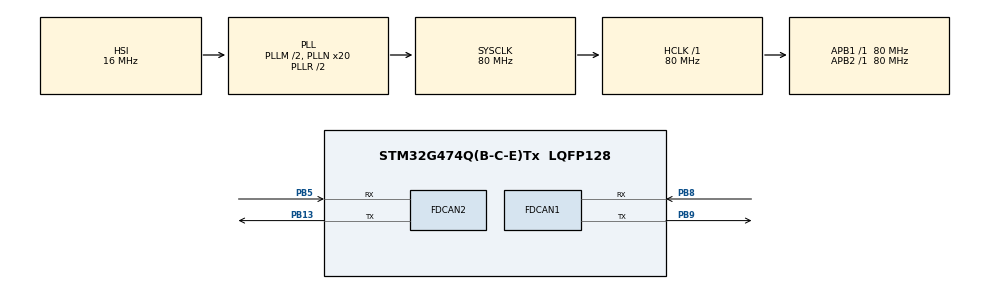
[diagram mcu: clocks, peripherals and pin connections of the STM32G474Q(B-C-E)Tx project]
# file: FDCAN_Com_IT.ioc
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FDCAN1.AutoRetransmission=ENABLE
FDCAN1.ClockDivider=FDCAN_CLOCK_DIV1
FDCAN1.DataPrescaler=1
FDCAN1.DataSyncJumpWidth=4
FDCAN1.DataTimeSeg1=5
FDCAN1.DataTimeSeg2=4
FDCAN1.ExtFiltersNbr=0
FDCAN1.FrameFormat=FDCAN_FRAME_FD_BRS
FDCAN1.Mode=FDCAN_MODE_NORMAL
FDCAN1.NominalPrescaler=1
FDCAN1.NominalSyncJumpWidth=16
FDCAN1.NominalTimeSeg1=63
FDCAN1.NominalTimeSeg2=16
FDCAN1.ProtocolException=DISABLE
FDCAN1.StdFiltersNbr=1
FDCAN1.TransmitPause=ENABLE
FDCAN1.TxFifoQueueMode=FDCAN_TX_FIFO_OPERATION
FDCAN2.AutoRetransmission=ENABLE
FDCAN2.ClockDivider=FDCAN_CLOCK_DIV1
FDCAN2.DataPrescaler=1
FDCAN2.DataSyncJumpWidth=4
FDCAN2.DataTimeSeg1=5
FDCAN2.DataTimeSeg2=4
FDCAN2.ExtFiltersNbr=0
FDCAN2.FrameFormat=FDCAN_FRAME_FD_BRS
FDCAN2.Mode=FDCAN_MODE_NORMAL
FDCAN2.NominalPrescaler=1
FDCAN2.NominalSyncJumpWidth=16
FDCAN2.NominalTimeSeg1=63
FDCAN2.NominalTimeSeg2=16
FDCAN2.ProtocolException=DISABLE
FDCAN2.StdFiltersNbr=1
FDCAN2.TransmitPause=ENABLE
FDCAN2.TxFifoQueueMode=FDCAN_TX_FIFO_OPERATION
Mcu.Family=STM32G4
Mcu.Name=STM32G474Q(B-C-E)Tx
Mcu.Package=LQFP128
NVIC.FDCAN1_IT0_IRQn=true\:0\:0\:false\:false\:true\:true\:true
NVIC.FDCAN2_IT0_IRQn=true\:0\:0\:false\:false\:true\:true\:true
NVIC.PriorityGroup=NVIC_PRIORITYGROUP_4
PB13.GPIO_Speed=GPIO_SPEED_FREQ_VERY_HIGH
PB13.Mode=FDCANFD
PB13.Signal=FDCAN2_TX
PB5.GPIO_Speed=GPIO_SPEED_FREQ_VERY_HIGH
PB5.Mode=FDCANFD
PB5.Signal=FDCAN2_RX
PB8-BOOT0.GPIO_Speed=GPIO_SPEED_FREQ_VERY_HIGH
PB8-BOOT0.Mode=FDCANFD
PB8-BOOT0.Signal=FDCAN1_RX
PB9.GPIO_Speed=GPIO_SPEED_FREQ_VERY_HIGH
PB9.Mode=FDCANFD
PB9.Signal=FDCAN1_TX
ProjectManager.HeapSize=0x200
ProjectManager.StackSize=0xA00
ProjectManager.TargetToolchain=EWARM V8
RCC.ADC12Freq_Value=80000000
RCC.ADC345Freq_Value=80000000
RCC.AHBFreq_Value=80000000
RCC.APB1Freq_Value=80000000
RCC.APB1TimFreq_Value=80000000
RCC.APB2Freq_Value=80000000
RCC.APB2TimFreq_Value=80000000
RCC.CortexFreq_Value=80000000
RCC.EXTERNAL_CLOCK_VALUE=12288000
RCC.HCLKFreq_Value=80000000
RCC.HSE_VALUE=24000000
RCC.HSI48_VALUE=48000000
RCC.HSI_VALUE=16000000
RCC.LSE_VALUE=32768
RCC.PLLM=RCC_PLLM_DIV2
RCC.PLLN=20
RCC.SYSCLKFreq_VALUE=80000000
RCC.SYSCLKSource=RCC_SYSCLKSOURCE_PLLCLK
RCC.USBFreq_Value=80000000
RCC.VCOOutputFreq_Value=160000000
VP_SYS_VS_DBSignals.Mode=DisableDeadBatterySignals
board=STM32G474E-EVAL

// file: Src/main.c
/* USER CODE BEGIN Header */
/**
  ******************************************************************************
  * @file    FDCAN/FDCAN_Com_IT/Src/main.c
  * @author  MCD Application Team
  * @brief   This sample code shows how to achieve Interrupt Process Communication
  *          between two FDCAN units.
  ******************************************************************************
  * @attention
  *
  * <h2><center>&copy; Copyright (c) 2019 STMicroelectronics.
  * All rights reserved.</center></h2>
  *
  * This software component is licensed by ST under BSD 3-Clause license,
  * the "License"; You may not use this file except in compliance with the
  * License. You may obtain a copy of the License at:
  *                        opensource.org/licenses/BSD-3-Clause
  *
  ******************************************************************************
  */
/* USER CODE END Header */
#include "main.h"

FDCAN_HandleTypeDef hfdcan1;
FDCAN_HandleTypeDef hfdcan2;

/* USER CODE BEGIN PV */
FDCAN_FilterTypeDef sFilterConfig;
FDCAN_TxHeaderTypeDef TxHeader;
FDCAN_RxHeaderTypeDef RxHeader;
uint8_t TxData[] = {0x10, 0x32, 0x54, 0x76, 0x98, 0x00, 0x11, 0x22, 0x33, 0x44, 0x55, 0x66, 0x77, 0x88, 0x99, 0x00};
uint8_t RxData[16];
volatile uint32_t Instance = 0;

/* USER CODE END PV */

void SystemClock_Config(void);
static void MX_GPIO_Init(void);
static void MX_FDCAN1_Init(void);
static void MX_FDCAN2_Init(void);
/* USER CODE BEGIN PFP */
static uint32_t BufferCmp8b(uint8_t* pBuffer1, uint8_t* pBuffer2, uint16_t BufferLength);

/* USER CODE END PFP */

int main(void)
{
  /* USER CODE BEGIN 1 */

  /* STM32G4xx HAL library initialization:
       - Configure the Flash prefetch
       - Systick timer is configured by default as source of time base, but user
         can eventually implement his proper time base source (a general purpose
         timer for example or other time source), keeping in mind that Time base
         duration should be kept 1ms since PPP_TIMEOUT_VALUEs are defined and
         handled in milliseconds basis.
       - Set NVIC Group Priority to 4
       - Low Level Initialization
     */
  /* USER CODE END 1 */

  /* MCU Configuration--------------------------------------------------------*/

  /* Reset of all peripherals, Initializes the Flash interface and the Systick. */
  HAL_Init();

  /* Configure the system clock */
  SystemClock_Config();

  /* USER CODE BEGIN SysInit */
  /* Configure LED1, LED4 and LED3 */
  BSP_LED_Init(LED1);
  BSP_LED_Init(LED4);
  BSP_LED_Init(LED3);

  /* Configure User push-button in interrupt mode */
  BSP_PB_Init(BUTTON_USER, BUTTON_MODE_EXTI);

  /* USER CODE END SysInit */

  /* Initialize all configured peripherals */
  MX_GPIO_Init();
  MX_FDCAN1_Init();
  MX_FDCAN2_Init();
  /* USER CODE BEGIN 2 */

  /* Configure reception filter to Rx FIFO 0 on both FDCAN instances */
  sFilterConfig.IdType = FDCAN_STANDARD_ID;
  sFilterConfig.FilterIndex = 0;
  sFilterConfig.FilterType = FDCAN_FILTER_MASK;
  sFilterConfig.FilterConfig = FDCAN_FILTER_TO_RXFIFO0;
  sFilterConfig.FilterID1 = 0x111;
  sFilterConfig.FilterID2 = 0x7FF;
  if (HAL_FDCAN_ConfigFilter(&hfdcan1, &sFilterConfig) != HAL_OK)
  {
    Error_Handler();
  }
  if (HAL_FDCAN_ConfigFilter(&hfdcan2, &sFilterConfig) != HAL_OK)
  {
    Error_Handler();
  }

  /* Configure global filter on both FDCAN instances:
     Filter all remote frames with STD and EXT ID
     Reject non matching frames with STD ID and EXT ID */
  if (HAL_FDCAN_ConfigGlobalFilter(&hfdcan1, FDCAN_REJECT, FDCAN_REJECT, FDCAN_FILTER_REMOTE, FDCAN_FILTER_REMOTE) != HAL_OK)
  {
    Error_Handler();
  }
  if (HAL_FDCAN_ConfigGlobalFilter(&hfdcan2, FDCAN_REJECT, FDCAN_REJECT, FDCAN_FILTER_REMOTE, FDCAN_FILTER_REMOTE) != HAL_OK)
  {
    Error_Handler();
  }

  /* Activate Rx FIFO 0 new message notification on both FDCAN instances */
  if (HAL_FDCAN_ActivateNotification(&hfdcan1, FDCAN_IT_RX_FIFO0_NEW_MESSAGE, 0) != HAL_OK)
  {
    Error_Handler();
  }
  if (HAL_FDCAN_ActivateNotification(&hfdcan2, FDCAN_IT_RX_FIFO0_NEW_MESSAGE, 0) != HAL_OK)
  {
    Error_Handler();
  }

  /* Prepare Tx message Header */
  TxHeader.Identifier = 0x111;
  TxHeader.IdType = FDCAN_STANDARD_ID;
  TxHeader.TxFrameType = FDCAN_DATA_FRAME;
  TxHeader.DataLength = FDCAN_DLC_BYTES_16;
  TxHeader.ErrorStateIndicator = FDCAN_ESI_ACTIVE;
  TxHeader.BitRateSwitch = FDCAN_BRS_ON;
  TxHeader.FDFormat = FDCAN_FD_CAN;
  TxHeader.TxEventFifoControl = FDCAN_NO_TX_EVENTS;
  TxHeader.MessageMarker = 0;

  /* Configure and enable Tx Delay Compensation, required for BRS mode.
     TdcOffset default recommended value: DataTimeSeg1 * DataPrescaler
     TdcFilter default recommended value: 0 */
  if (HAL_FDCAN_ConfigTxDelayCompensation(&hfdcan1, 5, 0) != HAL_OK)
  {
    Error_Handler();
  }
  if (HAL_FDCAN_ConfigTxDelayCompensation(&hfdcan2, 5, 0) != HAL_OK)
  {
    Error_Handler();
  }
  if (HAL_FDCAN_EnableTxDelayCompensation(&hfdcan1) != HAL_OK)
  {
    Error_Handler();
  }
  if (HAL_FDCAN_EnableTxDelayCompensation(&hfdcan2) != HAL_OK)
  {
    Error_Handler();
  }

  /* Start the FDCAN module on both FDCAN instances */
  if (HAL_FDCAN_Start(&hfdcan1) != HAL_OK)
  {
    Error_Handler();
  }
  if (HAL_FDCAN_Start(&hfdcan2) != HAL_OK)
  {
    Error_Handler();
  }
  /* USER CODE END 2 */

  /* Infinite loop */
  while (1)
  {

  }
}

void SystemClock_Config(void)
{
  RCC_OscInitTypeDef RCC_OscInitStruct = {0};
  RCC_ClkInitTypeDef RCC_ClkInitStruct = {0};
  RCC_PeriphCLKInitTypeDef PeriphClkInit = {0};

  /** Configure the main internal regulator output voltage
  */
  HAL_PWREx_ControlVoltageScaling(PWR_REGULATOR_VOLTAGE_SCALE1);
  /** Initializes the RCC Oscillators according to the specified parameters
  * in the RCC_OscInitTypeDef structure.
  */
  RCC_OscInitStruct.OscillatorType = RCC_OSCILLATORTYPE_HSI;
  RCC_OscInitStruct.HSIState = RCC_HSI_ON;
  RCC_OscInitStruct.HSICalibrationValue = RCC_HSICALIBRATION_DEFAULT;
  RCC_OscInitStruct.PLL.PLLState = RCC_PLL_ON;
  RCC_OscInitStruct.PLL.PLLSource = RCC_PLLSOURCE_HSI;
  RCC_OscInitStruct.PLL.PLLM = RCC_PLLM_DIV2;
  RCC_OscInitStruct.PLL.PLLN = 20;
  RCC_OscInitStruct.PLL.PLLP = RCC_PLLP_DIV2;
  RCC_OscInitStruct.PLL.PLLQ = RCC_PLLQ_DIV2;
  RCC_OscInitStruct.PLL.PLLR = RCC_PLLR_DIV2;
  if (HAL_RCC_OscConfig(&RCC_OscInitStruct) != HAL_OK)
  {
    Error_Handler();
  }
  /** Initializes the CPU, AHB and APB buses clocks
  */
  RCC_ClkInitStruct.ClockType = RCC_CLOCKTYPE_HCLK|RCC_CLOCKTYPE_SYSCLK
                              |RCC_CLOCKTYPE_PCLK1|RCC_CLOCKTYPE_PCLK2;
  RCC_ClkInitStruct.SYSCLKSource = RCC_SYSCLKSOURCE_PLLCLK;
  RCC_ClkInitStruct.AHBCLKDivider = RCC_SYSCLK_DIV1;
  RCC_ClkInitStruct.APB1CLKDivider = RCC_HCLK_DIV1;
  RCC_ClkInitStruct.APB2CLKDivider = RCC_HCLK_DIV1;

  if (HAL_RCC_ClockConfig(&RCC_ClkInitStruct, FLASH_LATENCY_2) != HAL_OK)
  {
    Error_Handler();
  }
  /** Initializes the peripherals clocks
  */
  PeriphClkInit.PeriphClockSelection = RCC_PERIPHCLK_FDCAN;
  PeriphClkInit.FdcanClockSelection = RCC_FDCANCLKSOURCE_PCLK1;
  if (HAL_RCCEx_PeriphCLKConfig(&PeriphClkInit) != HAL_OK)
  {
    Error_Handler();
  }
}

static void MX_FDCAN1_Init(void)
{

  hfdcan1.Instance = FDCAN1;
  hfdcan1.Init.ClockDivider = FDCAN_CLOCK_DIV1;
  hfdcan1.Init.FrameFormat = FDCAN_FRAME_FD_BRS;
  hfdcan1.Init.Mode = FDCAN_MODE_NORMAL;
  hfdcan1.Init.AutoRetransmission = ENABLE;
  hfdcan1.Init.TransmitPause = ENABLE;
  hfdcan1.Init.ProtocolException = DISABLE;
  hfdcan1.Init.NominalPrescaler = 1;
  hfdcan1.Init.NominalSyncJumpWidth = 16;
  hfdcan1.Init.NominalTimeSeg1 = 63;
  hfdcan1.Init.NominalTimeSeg2 = 16;
  hfdcan1.Init.DataPrescaler = 1;
  hfdcan1.Init.DataSyncJumpWidth = 4;
  hfdcan1.Init.DataTimeSeg1 = 5;
  hfdcan1.Init.DataTimeSeg2 = 4;
  hfdcan1.Init.StdFiltersNbr = 1;
  hfdcan1.Init.ExtFiltersNbr = 0;
  hfdcan1.Init.TxFifoQueueMode = FDCAN_TX_FIFO_OPERATION;
  if (HAL_FDCAN_Init(&hfdcan1) != HAL_OK)
  {
    Error_Handler();
  }

}

static void MX_FDCAN2_Init(void)
{

  hfdcan2.Instance = FDCAN2;
  hfdcan2.Init.FrameFormat = FDCAN_FRAME_FD_BRS;
  hfdcan2.Init.Mode = FDCAN_MODE_NORMAL;
  hfdcan2.Init.AutoRetransmission = ENABLE;
  hfdcan2.Init.TransmitPause = ENABLE;
  hfdcan2.Init.ProtocolException = DISABLE;
  hfdcan2.Init.NominalPrescaler = 1;
  hfdcan2.Init.NominalSyncJumpWidth = 16;
  hfdcan2.Init.NominalTimeSeg1 = 63;
  hfdcan2.Init.NominalTimeSeg2 = 16;
  hfdcan2.Init.DataPrescaler = 1;
  hfdcan2.Init.DataSyncJumpWidth = 4;
  hfdcan2.Init.DataTimeSeg1 = 5;
  hfdcan2.Init.DataTimeSeg2 = 4;
  hfdcan2.Init.StdFiltersNbr = 1;
  hfdcan2.Init.ExtFiltersNbr = 0;
  hfdcan2.Init.TxFifoQueueMode = FDCAN_TX_FIFO_OPERATION;
  if (HAL_FDCAN_Init(&hfdcan2) != HAL_OK)
  {
    Error_Handler();
  }

}

static void MX_GPIO_Init(void)
{

  /* GPIO Ports Clock Enable */
  __HAL_RCC_GPIOB_CLK_ENABLE();

}

/* USER CODE BEGIN 4 */

/**
  * @brief  Rx FIFO 0 callback.
  * @param  hfdcan pointer to an FDCAN_HandleTypeDef structure that contains
  *         the configuration information for the specified FDCAN.
  * @param  RxFifo0ITs indicates which Rx FIFO 0 interrupts are signaled.
  *         This parameter can be any combination of @arg FDCAN_Rx_Fifo0_Interrupts.
  * @retval None
  */
void HAL_FDCAN_RxFifo0Callback(FDCAN_HandleTypeDef *hfdcan, uint32_t RxFifo0ITs)
{
  if((RxFifo0ITs & FDCAN_IT_RX_FIFO0_NEW_MESSAGE) != 0)
  {
    /* Retrieve Rx messages from RX FIFO0 */
    if (HAL_FDCAN_GetRxMessage(hfdcan, FDCAN_RX_FIFO0, &RxHeader, RxData) != HAL_OK)
    {
      Error_Handler();
    }

    /* Compare payload to expected data */
    if (BufferCmp8b(TxData, RxData, 16) != 0)
    {
      Error_Handler();
    }
    else
    {
      if (hfdcan->Instance == FDCAN1)
      {
        /* Turn LED1 on */
        BSP_LED_On(LED1);
      }
      else /* FDCAN2 */
      {
        /* Turn LED4 on */
        BSP_LED_On(LED4);
      }
    }
  }
}

/**
  * @brief EXTI line detection callback
  * @param GPIO_Pin: Specifies the pins connected EXTI line
  * @retval None
  */
void HAL_GPIO_EXTI_Callback(uint16_t GPIO_Pin)
{
  if (GPIO_Pin == USER_BUTTON_PIN)
  {
    /* Turn LED1 and LED4 off */
    BSP_LED_Off(LED1);
    BSP_LED_Off(LED4);

    /* Check which FDCAN instance is selected to send message */
    if (Instance == 1)
	{
      /* Add message to TX FIFO of FDCAN instance 1 */
      if (HAL_FDCAN_AddMessageToTxFifoQ(&hfdcan1, &TxHeader, TxData) != HAL_OK)
      {
        Error_Handler();
      }

      /* Toggle FDCAN instance */
      Instance = 2;
    }
    else /* Instance = 2 */
    {
      /* Add message to TX FIFO of FDCAN instance 2 */
      if (HAL_FDCAN_AddMessageToTxFifoQ(&hfdcan2, &TxHeader, TxData) != HAL_OK)
      {
        Error_Handler();
      }

      /* Toggle FDCAN instance */
      Instance = 1;
    }

    /* Delay to avoid rebound */
    HAL_Delay(100);
  }
}

/**
  * @brief Compares two buffers.
  * @par Input
  *  - pBuffer1, pBuffer2: buffers to be compared.
  *  - BufferLength: buffer's length
  * @par Output
  * None.
  * @retval
  *   0: pBuffer1 identical to pBuffer2
  *   1: pBuffer1 differs from pBuffer2
  */
static uint32_t BufferCmp8b(uint8_t* pBuffer1, uint8_t* pBuffer2, uint16_t BufferLength)
{
  while(BufferLength--)
  {
    if(*pBuffer1 != *pBuffer2)
    {
      return 1;
    }

    pBuffer1++;
    pBuffer2++;
  }
  return 0;
}
/* USER CODE END 4 */

void Error_Handler(void)
{
  /* USER CODE BEGIN Error_Handler_Debug */
  /* User can add his own implementation to report the HAL error return state */
  /* DeInitialize LED1 and LED4 */
  BSP_LED_DeInit(LED1);
  BSP_LED_DeInit(LED4);

  /* Turn LED3 on */
  BSP_LED_On(LED3);

  while(1)
  {
  }
  /* USER CODE END Error_Handler_Debug */
}

/************************ (C) COPYRIGHT STMicroelectronics *****END OF FILE****/
